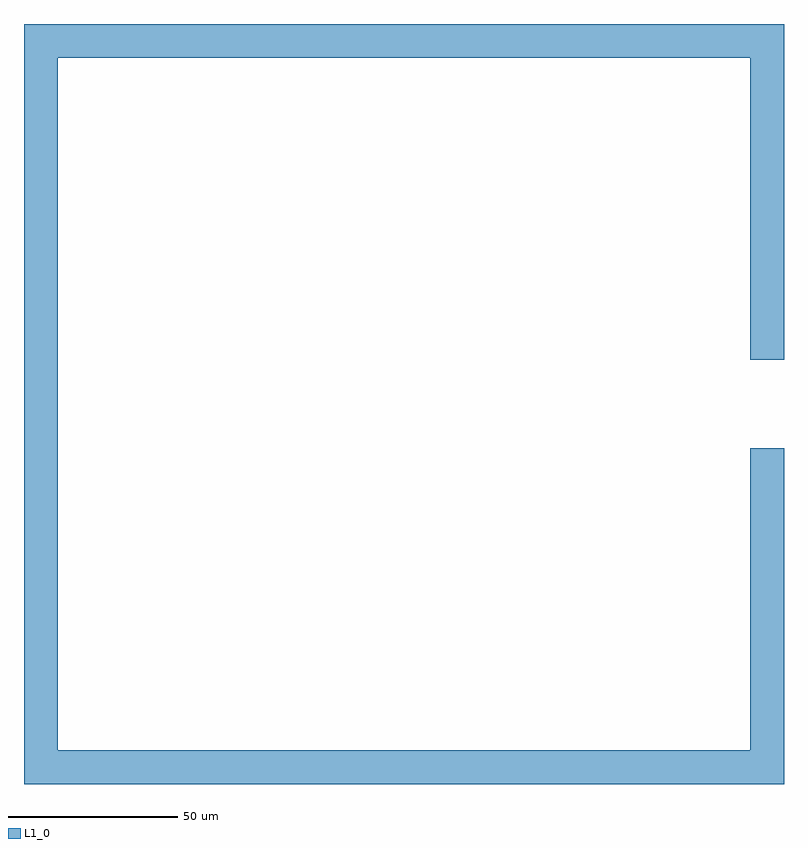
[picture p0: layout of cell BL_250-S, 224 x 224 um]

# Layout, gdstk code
import gdstk
lib = gdstk.Library(unit=1e-6, precision=1e-09)
def R(c, l, rs):  # rectangles x0, y0, x1, y1
    for r in rs: c.add(gdstk.rectangle(r[:2], r[2:], *l))
def P(c, l, *ps):  # polygons
    for p in ps: c.add(gdstk.Polygon(p, *l))
L1_0 = (1, 0)

bl_250_s = lib.new_cell('BL_250-S')
R(bl_250_s, L1_0, [(113,225,123,238), (113,238,123,251)])
P(bl_250_s, L1_0, [(327,251),(327,340),(337,350),(337,251)],
  [(123,340),(113,350),(337,350),(327,340)],
  [(113,251),(113,350),(123,340),(123,251)],
  [(113,126),(113,225),(123,225),(123,136)],
  [(113,126),(123,136),(327,136),(337,126)],
  [(337,126),(327,136),(327,225),(337,225)])

lib.write_gds('BL_250-S.gds')
